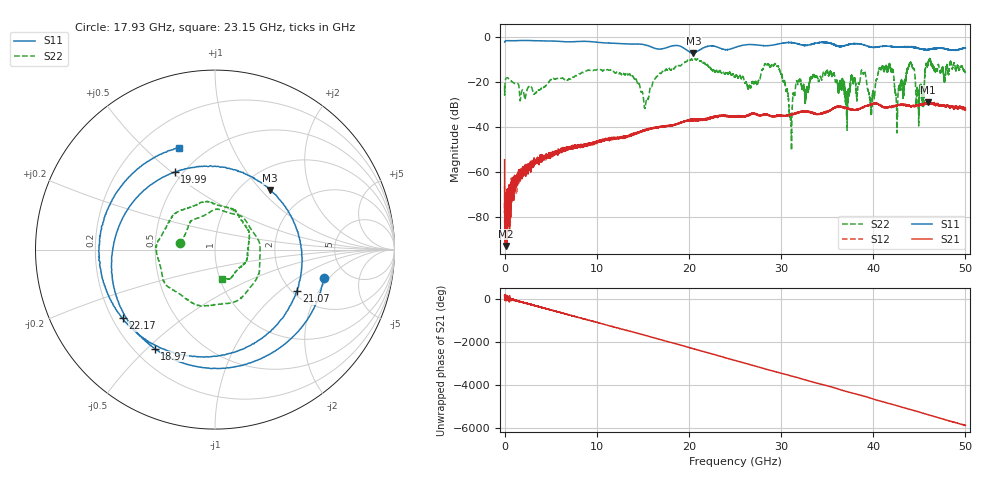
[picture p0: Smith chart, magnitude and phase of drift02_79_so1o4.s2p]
!Created with skrf (http://scikit-rf.org).
# Hz S RI R 50.0
!freq ReS11 ImS11 ReS21 ImS21 ReS12 ImS12 ReS22 ImS22
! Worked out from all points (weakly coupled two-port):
!   10001 points, 300 kHz to 50 GHz, reference 50 ohm
!   highest |S21| = -28.99 dB at 45.98 GHz (marker M1); lowest = -93.1 dB at 100.3 MHz (marker M2)
!   lowest |S11| = -6.9 dB at 20.49 GHz (marker M3), VSWR 2.64, Z = 67.7 + j56.1 ohm
!   |S11| at or under -10 dB: nowhere
!   |S22| runs from -50.4 to -9.4 dB; largest |S21 - S12| = 0.0035
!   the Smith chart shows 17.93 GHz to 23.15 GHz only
!   S11 on the Smith chart (normalised r, x): 17.93 GHz: 3.39, -1.74; 18.97 GHz: 0.28, -0.53; 19.99 GHz: 0.45, +0.51; 21.07 GHz: 2.11, -1.32; 22.17 GHz: 0.24, -0.31; 23.15 GHz: 0.36, +0.64
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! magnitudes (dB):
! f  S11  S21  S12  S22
! 300 kHz  -2.0  -54.6  -66.4  -21.6
! 100.3 MHz  -1.5  -93.1  -76.2  -18.8
! 8.335 GHz  -1.7  -48.3  -48.5  -15.7
! 15.33 GHz  -3.4  -41.4  -41.1  -29.1
! 16.67 GHz  -5.2  -40.0  -40.2  -17.0
! 17.93 GHz  -4.1  -39.2  -39.4  -14.1
! 18.97 GHz  -3.8  -38.3  -38.3  -12.6
! 19.99 GHz  -6.3  -37.0  -36.9  -10.2
! 20.49 GHz  -6.9  -37.3  -36.4  -9.8
! 21.07 GHz  -5.8  -36.9  -36.8  -10.1
! 22.17 GHz  -3.9  -36.0  -36.4  -13.3
! 23.15 GHz  -4.4  -34.9  -35.1  -15.5
! 25 GHz  -4.5  -35.4  -35.3  -17.5
! 29.51 GHz  -3.1  -35.1  -35.1  -12.5
! 31.03 GHz  -2.3  -34.5  -34.8  -34.6
! 33.34 GHz  -3.1  -33.6  -33.6  -18.2
! 39.88 GHz  -4.4  -29.9  -29.8  -27.4
! 41.67 GHz  -3.9  -31.2  -31.0  -13.2
! 44.18 GHz  -4.1  -30.6  -30.7  -11.9
! 44.85 GHz  -4.8  -30.1  -29.9  -25.8
! 45.98 GHz  -5.4  -29.0  -29.3  -10.3
! 50 GHz  -4.7  -31.6  -31.8  -15.9
